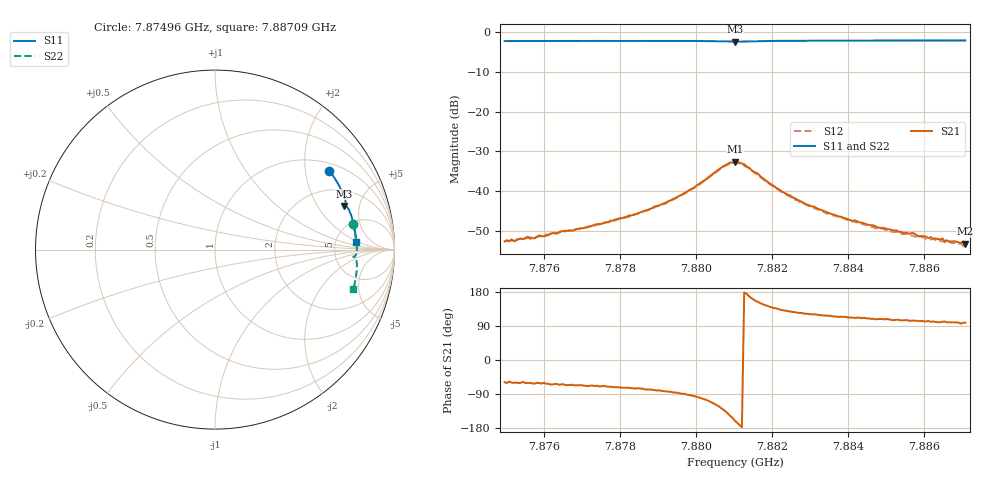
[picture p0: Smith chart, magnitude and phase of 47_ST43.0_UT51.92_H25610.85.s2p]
#  HZ  S  DB  R  50.00
! Rohde & Schwarz Vector Network Analyzer
! Rohde-Schwarz,ZNB20-2Port,1311601062101988,3.16
! Created: UTC 1/12/2023, 6:32:37 PM
! freq[Hz]  db:S11  ang:S11  db:S21  ang:S21  db:S12  ang:S12  db:S22  ang:S22
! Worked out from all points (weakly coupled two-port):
!   201 points, 7.87496 GHz to 7.88709 GHz, reference 50 ohm
!   highest |S21| = -32.57 dB at 7.88103 GHz (marker M1); lowest = -53.2 dB at 7.88709 GHz (marker M2)
!   lowest |S11| = -2.4 dB at 7.88103 GHz (marker M3), VSWR 7.35, Z = 154 + j177 ohm
!   |S11| at or under -10 dB: nowhere
!   |S22| runs from -2.3 to -1.9 dB; largest |S21 - S12| = 0.0021
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7.87496e9  -2.23 34.6  -52.62 -58.7  -52.54 -61.0  -2.14 10.6
7.875566e9  -2.21 33.0  -51.45 -60.9  -51.73 -63.3  -2.12 9.2
7.875748e9  -2.21 32.5  -51.83 -62.4  -51.68 -65.0  -2.12 8.8
7.875869e9  -2.21 32.2  -51.12 -60.7  -51.35 -65.9  -2.11 8.5
7.877022e9  -2.19 29.0  -49.31 -67.4  -49.32 -70.1  -2.08 5.8
7.878235e9  -2.18 25.7  -46.09 -73.3  -46.44 -77.3  -2.06 3.0
7.879023e9  -2.17 23.5  -43.61 -79.9  -43.64 -83.5  -2.04 1.1
7.879812e9  -2.19 21.2  -39.77 -92.3  -40.07 -95.6  -2.06 -0.9
7.880722e9  -2.32 18.8  -33.69 -131.4  -33.89 -134.8  -2.19 -3.0
7.881025e9  -2.38 18.6  -32.57 -160.6  -32.86 -162.8  -2.26 -3.0
7.881268e9  -2.34 18.6  -33.18 177.9  -33.57 174.2  -2.21 -2.9
7.882299e9  -2.16 15.9  -40.26 131.1  -40.41 128.1  -2.02 -5.0
7.883087e9  -2.12 13.7  -43.84 120.4  -44.14 117.4  -1.98 -7.0
7.884118e9  -2.11 10.9  -47.46 111.9  -47.55 109.0  -1.95 -9.3
7.885089e9  -2.09 8.3  -49.57 107.1  -50.12 103.0  -1.93 -11.5
7.88612e9  -2.08 5.7  -51.79 102.9  -51.97 98.8  -1.92 -13.7
7.886484e9  -2.08 4.7  -51.88 101.0  -52.56 99.5  -1.93 -14.5
7.886545e9  -2.08 4.5  -52.57 101.5  -52.86 97.6  -1.92 -14.6
7.886666e9  -2.07 4.2  -52.71 99.4  -52.50 98.2  -1.92 -14.9
7.886969e9  -2.07 3.4  -53.04 95.9  -53.15 96.0  -1.92 -15.5
7.88703e9  -2.07 3.3  -52.61 98.3  -53.81 96.2  -1.92 -15.7
7.88709e9  -2.07 3.1  -53.16 98.5  -53.42 93.4  -1.92 -15.8
